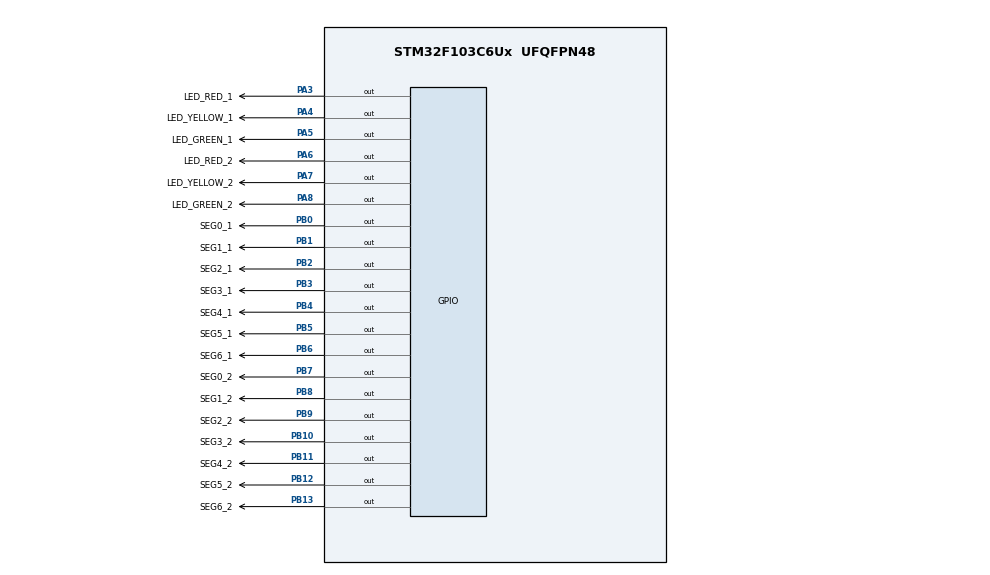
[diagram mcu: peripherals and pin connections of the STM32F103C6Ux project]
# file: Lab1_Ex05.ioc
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Mcu.Family=STM32F1
Mcu.Name=STM32F103C6Ux
Mcu.Package=UFQFPN48
NVIC.PriorityGroup=NVIC_PRIORITYGROUP_4
PA3.GPIO_Label=LED_RED_1
PA3.Signal=GPIO_Output
PA4.GPIO_Label=LED_YELLOW_1
PA4.Signal=GPIO_Output
PA5.GPIO_Label=LED_GREEN_1
PA5.Signal=GPIO_Output
PA6.GPIO_Label=LED_RED_2
PA6.Signal=GPIO_Output
PA7.GPIO_Label=LED_YELLOW_2
PA7.Signal=GPIO_Output
PA8.GPIO_Label=LED_GREEN_2
PA8.Signal=GPIO_Output
PB0.GPIO_Label=SEG0_1
PB0.Signal=GPIO_Output
PB1.GPIO_Label=SEG1_1
PB1.Signal=GPIO_Output
PB10.GPIO_Label=SEG3_2
PB10.Signal=GPIO_Output
PB11.GPIO_Label=SEG4_2
PB11.Signal=GPIO_Output
PB12.GPIO_Label=SEG5_2
PB12.Signal=GPIO_Output
PB13.GPIO_Label=SEG6_2
PB13.Signal=GPIO_Output
PB2.GPIO_Label=SEG2_1
PB2.Signal=GPIO_Output
PB3.GPIO_Label=SEG3_1
PB3.Signal=GPIO_Output
PB4.GPIO_Label=SEG4_1
PB4.Signal=GPIO_Output
PB5.GPIO_Label=SEG5_1
PB5.Signal=GPIO_Output
PB6.GPIO_Label=SEG6_1
PB6.Signal=GPIO_Output
PB7.GPIO_Label=SEG0_2
PB7.Signal=GPIO_Output
PB8.GPIO_Label=SEG1_2
PB8.Signal=GPIO_Output
PB9.GPIO_Label=SEG2_2
PB9.Signal=GPIO_Output
ProjectManager.HeapSize=0x200
ProjectManager.StackSize=0x400
ProjectManager.TargetToolchain=STM32CubeIDE
RCC.APB1Freq_Value=8000000
RCC.APB2Freq_Value=8000000
VP_SYS_VS_ND.Mode=No_Debug
board=custom

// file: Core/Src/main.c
/* USER CODE BEGIN Header */
/**
  ******************************************************************************
  * @file           : main.c
  * @brief          : Main program body
  ******************************************************************************
  * @attention
  *
  * <h2><center>&copy; Copyright (c) 2022 STMicroelectronics.
  * All rights reserved.</center></h2>
  *
  * This software component is licensed by ST under BSD 3-Clause license,
  * the "License"; You may not use this file except in compliance with the
  * License. You may obtain a copy of the License at:
  *                        opensource.org/licenses/BSD-3-Clause
  *
  ******************************************************************************
  */
/* USER CODE END Header */
#include "main.h"

void SystemClock_Config(void);
static void MX_GPIO_Init(void);

/* USER CODE BEGIN 0 */
void display7SEG_1 (int num){
	if( num == 0){
		HAL_GPIO_WritePin(SEG0_1_GPIO_Port, SEG0_1_Pin, GPIO_PIN_RESET);
		HAL_GPIO_WritePin(SEG1_1_GPIO_Port, SEG1_1_Pin, GPIO_PIN_RESET);
		HAL_GPIO_WritePin(SEG2_1_GPIO_Port, SEG2_1_Pin, GPIO_PIN_RESET);
		HAL_GPIO_WritePin(SEG3_1_GPIO_Port, SEG3_1_Pin, GPIO_PIN_RESET);
		HAL_GPIO_WritePin(SEG4_1_GPIO_Port, SEG4_1_Pin, GPIO_PIN_RESET);
		HAL_GPIO_WritePin(SEG5_1_GPIO_Port, SEG5_1_Pin, GPIO_PIN_RESET);
		HAL_GPIO_WritePin(SEG6_1_GPIO_Port, SEG6_1_Pin, GPIO_PIN_SET);
	}

	if(num == 1){
		HAL_GPIO_WritePin(SEG0_1_GPIO_Port, SEG0_1_Pin, GPIO_PIN_SET);
		HAL_GPIO_WritePin(SEG1_1_GPIO_Port, SEG1_1_Pin, GPIO_PIN_RESET);
		HAL_GPIO_WritePin(SEG2_1_GPIO_Port, SEG2_1_Pin, GPIO_PIN_RESET);
		HAL_GPIO_WritePin(SEG3_1_GPIO_Port, SEG3_1_Pin, GPIO_PIN_SET );
		HAL_GPIO_WritePin(SEG4_1_GPIO_Port, SEG4_1_Pin, GPIO_PIN_SET);
		HAL_GPIO_WritePin(SEG5_1_GPIO_Port, SEG5_1_Pin, GPIO_PIN_SET);
		HAL_GPIO_WritePin(SEG6_1_GPIO_Port, SEG6_1_Pin, GPIO_PIN_SET);
	}

	if(num == 2){
		HAL_GPIO_WritePin(SEG0_1_GPIO_Port, SEG0_1_Pin, GPIO_PIN_RESET);
		HAL_GPIO_WritePin(SEG1_1_GPIO_Port, SEG1_1_Pin, GPIO_PIN_RESET);
		HAL_GPIO_WritePin(SEG2_1_GPIO_Port, SEG2_1_Pin, GPIO_PIN_SET);
		HAL_GPIO_WritePin(SEG3_1_GPIO_Port, SEG3_1_Pin, GPIO_PIN_RESET);
		HAL_GPIO_WritePin(SEG4_1_GPIO_Port, SEG4_1_Pin, GPIO_PIN_RESET);
		HAL_GPIO_WritePin(SEG5_1_GPIO_Port, SEG5_1_Pin, GPIO_PIN_SET);
		HAL_GPIO_WritePin(SEG6_1_GPIO_Port, SEG6_1_Pin, GPIO_PIN_RESET);
	}

	if(num == 3){
		HAL_GPIO_WritePin(SEG0_1_GPIO_Port, SEG0_1_Pin, GPIO_PIN_RESET);
		HAL_GPIO_WritePin(SEG1_1_GPIO_Port, SEG1_1_Pin, GPIO_PIN_RESET);
		HAL_GPIO_WritePin(SEG2_1_GPIO_Port, SEG2_1_Pin, GPIO_PIN_RESET);
		HAL_GPIO_WritePin(SEG3_1_GPIO_Port, SEG3_1_Pin, GPIO_PIN_RESET);
		HAL_GPIO_WritePin(SEG4_1_GPIO_Port, SEG4_1_Pin, GPIO_PIN_SET);
		HAL_GPIO_WritePin(SEG5_1_GPIO_Port, SEG5_1_Pin, GPIO_PIN_SET);
		HAL_GPIO_WritePin(SEG6_1_GPIO_Port, SEG6_1_Pin, GPIO_PIN_RESET);
	}

	if(num == 4){
		HAL_GPIO_WritePin(SEG0_1_GPIO_Port, SEG0_1_Pin, GPIO_PIN_SET);
		HAL_GPIO_WritePin(SEG1_1_GPIO_Port, SEG1_1_Pin, GPIO_PIN_RESET);
		HAL_GPIO_WritePin(SEG2_1_GPIO_Port, SEG2_1_Pin, GPIO_PIN_RESET);
		HAL_GPIO_WritePin(SEG3_1_GPIO_Port, SEG3_1_Pin, GPIO_PIN_SET);
		HAL_GPIO_WritePin(SEG4_1_GPIO_Port, SEG4_1_Pin, GPIO_PIN_SET);
		HAL_GPIO_WritePin(SEG5_1_GPIO_Port, SEG5_1_Pin, GPIO_PIN_RESET);
		HAL_GPIO_WritePin(SEG6_1_GPIO_Port, SEG6_1_Pin, GPIO_PIN_RESET);
	}

	if(num == 5){
		HAL_GPIO_WritePin(SEG0_1_GPIO_Port, SEG0_1_Pin, GPIO_PIN_RESET);
		HAL_GPIO_WritePin(SEG1_1_GPIO_Port, SEG1_1_Pin, GPIO_PIN_SET);
		HAL_GPIO_WritePin(SEG2_1_GPIO_Port, SEG2_1_Pin, GPIO_PIN_RESET);
		HAL_GPIO_WritePin(SEG3_1_GPIO_Port, SEG3_1_Pin, GPIO_PIN_RESET);
		HAL_GPIO_WritePin(SEG4_1_GPIO_Port, SEG4_1_Pin, GPIO_PIN_SET);
		HAL_GPIO_WritePin(SEG5_1_GPIO_Port, SEG5_1_Pin, GPIO_PIN_RESET);
		HAL_GPIO_WritePin(SEG6_1_GPIO_Port, SEG6_1_Pin, GPIO_PIN_RESET);
	}

	if(num == 6){
		HAL_GPIO_WritePin(SEG0_1_GPIO_Port, SEG0_1_Pin, GPIO_PIN_RESET);
		HAL_GPIO_WritePin(SEG1_1_GPIO_Port, SEG1_1_Pin, GPIO_PIN_SET);
		HAL_GPIO_WritePin(SEG2_1_GPIO_Port, SEG2_1_Pin, GPIO_PIN_RESET);
		HAL_GPIO_WritePin(SEG3_1_GPIO_Port, SEG3_1_Pin, GPIO_PIN_RESET);
		HAL_GPIO_WritePin(SEG4_1_GPIO_Port, SEG4_1_Pin, GPIO_PIN_RESET);
		HAL_GPIO_WritePin(SEG5_1_GPIO_Port, SEG5_1_Pin, GPIO_PIN_RESET);
		HAL_GPIO_WritePin(SEG6_1_GPIO_Port, SEG6_1_Pin, GPIO_PIN_RESET);
	}

	if(num == 7){
		HAL_GPIO_WritePin(SEG0_1_GPIO_Port, SEG0_1_Pin, GPIO_PIN_RESET);
		HAL_GPIO_WritePin(SEG1_1_GPIO_Port, SEG1_1_Pin, GPIO_PIN_RESET);
		HAL_GPIO_WritePin(SEG2_1_GPIO_Port, SEG2_1_Pin, GPIO_PIN_RESET);
		HAL_GPIO_WritePin(SEG3_1_GPIO_Port, SEG3_1_Pin, GPIO_PIN_SET);
		HAL_GPIO_WritePin(SEG4_1_GPIO_Port, SEG4_1_Pin, GPIO_PIN_SET);
		HAL_GPIO_WritePin(SEG5_1_GPIO_Port, SEG5_1_Pin, GPIO_PIN_SET);
		HAL_GPIO_WritePin(SEG6_1_GPIO_Port, SEG6_1_Pin, GPIO_PIN_SET);
	}

	if(num == 8){
		HAL_GPIO_WritePin(SEG0_1_GPIO_Port, SEG0_1_Pin, GPIO_PIN_RESET);
		HAL_GPIO_WritePin(SEG1_1_GPIO_Port, SEG1_1_Pin, GPIO_PIN_RESET);
		HAL_GPIO_WritePin(SEG2_1_GPIO_Port, SEG2_1_Pin, GPIO_PIN_RESET);
		HAL_GPIO_WritePin(SEG3_1_GPIO_Port, SEG3_1_Pin, GPIO_PIN_RESET);
		HAL_GPIO_WritePin(SEG4_1_GPIO_Port, SEG4_1_Pin, GPIO_PIN_RESET);
		HAL_GPIO_WritePin(SEG5_1_GPIO_Port, SEG5_1_Pin, GPIO_PIN_RESET);
		HAL_GPIO_WritePin(SEG6_1_GPIO_Port, SEG6_1_Pin, GPIO_PIN_RESET);
	}

	if(num == 9){
		HAL_GPIO_WritePin(SEG0_1_GPIO_Port, SEG0_1_Pin, GPIO_PIN_RESET);
		HAL_GPIO_WritePin(SEG1_1_GPIO_Port, SEG1_1_Pin, GPIO_PIN_RESET);
		HAL_GPIO_WritePin(SEG2_1_GPIO_Port, SEG2_1_Pin, GPIO_PIN_RESET);
		HAL_GPIO_WritePin(SEG3_1_GPIO_Port, SEG3_1_Pin, GPIO_PIN_RESET);
		HAL_GPIO_WritePin(SEG4_1_GPIO_Port, SEG4_1_Pin, GPIO_PIN_SET);
		HAL_GPIO_WritePin(SEG5_1_GPIO_Port, SEG5_1_Pin, GPIO_PIN_RESET);
		HAL_GPIO_WritePin(SEG6_1_GPIO_Port, SEG6_1_Pin, GPIO_PIN_RESET);
	}
}

void display7SEG_2 (int num){
	if( num == 0){
		HAL_GPIO_WritePin(SEG0_2_GPIO_Port, SEG0_2_Pin, GPIO_PIN_RESET);
		HAL_GPIO_WritePin(SEG1_2_GPIO_Port, SEG1_2_Pin, GPIO_PIN_RESET);
		HAL_GPIO_WritePin(SEG2_2_GPIO_Port, SEG2_2_Pin, GPIO_PIN_RESET);
		HAL_GPIO_WritePin(SEG3_2_GPIO_Port, SEG3_2_Pin, GPIO_PIN_RESET);
		HAL_GPIO_WritePin(SEG4_2_GPIO_Port, SEG4_2_Pin, GPIO_PIN_RESET);
		HAL_GPIO_WritePin(SEG5_2_GPIO_Port, SEG5_2_Pin, GPIO_PIN_RESET);
		HAL_GPIO_WritePin(SEG6_2_GPIO_Port, SEG6_2_Pin, GPIO_PIN_SET);
	}

	if(num == 1){
		HAL_GPIO_WritePin(SEG0_2_GPIO_Port, SEG0_2_Pin, GPIO_PIN_SET);
		HAL_GPIO_WritePin(SEG1_2_GPIO_Port, SEG1_2_Pin, GPIO_PIN_RESET);
		HAL_GPIO_WritePin(SEG2_2_GPIO_Port, SEG2_2_Pin, GPIO_PIN_RESET);
		HAL_GPIO_WritePin(SEG3_2_GPIO_Port, SEG3_2_Pin, GPIO_PIN_SET );
		HAL_GPIO_WritePin(SEG4_2_GPIO_Port, SEG4_2_Pin, GPIO_PIN_SET);
		HAL_GPIO_WritePin(SEG5_2_GPIO_Port, SEG5_2_Pin, GPIO_PIN_SET);
		HAL_GPIO_WritePin(SEG6_2_GPIO_Port, SEG6_2_Pin, GPIO_PIN_SET);
	}

	if(num == 2){
		HAL_GPIO_WritePin(SEG0_2_GPIO_Port, SEG0_2_Pin, GPIO_PIN_RESET);
		HAL_GPIO_WritePin(SEG1_2_GPIO_Port, SEG1_2_Pin, GPIO_PIN_RESET);
		HAL_GPIO_WritePin(SEG2_2_GPIO_Port, SEG2_2_Pin, GPIO_PIN_SET);
		HAL_GPIO_WritePin(SEG3_2_GPIO_Port, SEG3_2_Pin, GPIO_PIN_RESET);
		HAL_GPIO_WritePin(SEG4_2_GPIO_Port, SEG4_2_Pin, GPIO_PIN_RESET);
		HAL_GPIO_WritePin(SEG5_2_GPIO_Port, SEG5_2_Pin, GPIO_PIN_SET);
		HAL_GPIO_WritePin(SEG6_2_GPIO_Port, SEG6_2_Pin, GPIO_PIN_RESET);
	}

	if(num == 3){
		HAL_GPIO_WritePin(SEG0_2_GPIO_Port, SEG0_2_Pin, GPIO_PIN_RESET);
		HAL_GPIO_WritePin(SEG1_2_GPIO_Port, SEG1_2_Pin, GPIO_PIN_RESET);
		HAL_GPIO_WritePin(SEG2_2_GPIO_Port, SEG2_2_Pin, GPIO_PIN_RESET);
		HAL_GPIO_WritePin(SEG3_2_GPIO_Port, SEG3_2_Pin, GPIO_PIN_RESET);
		HAL_GPIO_WritePin(SEG4_2_GPIO_Port, SEG4_2_Pin, GPIO_PIN_SET);
		HAL_GPIO_WritePin(SEG5_2_GPIO_Port, SEG5_2_Pin, GPIO_PIN_SET);
		HAL_GPIO_WritePin(SEG6_2_GPIO_Port, SEG6_2_Pin, GPIO_PIN_RESET);
	}

	if(num == 4){
		HAL_GPIO_WritePin(SEG0_2_GPIO_Port, SEG0_2_Pin, GPIO_PIN_SET);
		HAL_GPIO_WritePin(SEG1_2_GPIO_Port, SEG1_2_Pin, GPIO_PIN_RESET);
		HAL_GPIO_WritePin(SEG2_2_GPIO_Port, SEG2_2_Pin, GPIO_PIN_RESET);
		HAL_GPIO_WritePin(SEG3_2_GPIO_Port, SEG3_2_Pin, GPIO_PIN_SET);
		HAL_GPIO_WritePin(SEG4_2_GPIO_Port, SEG4_2_Pin, GPIO_PIN_SET);
		HAL_GPIO_WritePin(SEG5_2_GPIO_Port, SEG5_2_Pin, GPIO_PIN_RESET);
		HAL_GPIO_WritePin(SEG6_2_GPIO_Port, SEG6_2_Pin, GPIO_PIN_RESET);
	}

	if(num == 5){
		HAL_GPIO_WritePin(SEG0_2_GPIO_Port, SEG0_2_Pin, GPIO_PIN_RESET);
		HAL_GPIO_WritePin(SEG1_2_GPIO_Port, SEG1_2_Pin, GPIO_PIN_SET);
		HAL_GPIO_WritePin(SEG2_2_GPIO_Port, SEG2_2_Pin, GPIO_PIN_RESET);
		HAL_GPIO_WritePin(SEG3_2_GPIO_Port, SEG3_2_Pin, GPIO_PIN_RESET);
		HAL_GPIO_WritePin(SEG4_2_GPIO_Port, SEG4_2_Pin, GPIO_PIN_SET);
		HAL_GPIO_WritePin(SEG5_2_GPIO_Port, SEG5_2_Pin, GPIO_PIN_RESET);
		HAL_GPIO_WritePin(SEG6_2_GPIO_Port, SEG6_2_Pin, GPIO_PIN_RESET);
	}

	if(num == 6){
		HAL_GPIO_WritePin(SEG0_2_GPIO_Port, SEG0_2_Pin, GPIO_PIN_RESET);
		HAL_GPIO_WritePin(SEG1_2_GPIO_Port, SEG1_2_Pin, GPIO_PIN_SET);
		HAL_GPIO_WritePin(SEG2_2_GPIO_Port, SEG2_2_Pin, GPIO_PIN_RESET);
		HAL_GPIO_WritePin(SEG3_2_GPIO_Port, SEG3_2_Pin, GPIO_PIN_RESET);
		HAL_GPIO_WritePin(SEG4_2_GPIO_Port, SEG4_2_Pin, GPIO_PIN_RESET);
		HAL_GPIO_WritePin(SEG5_2_GPIO_Port, SEG5_2_Pin, GPIO_PIN_RESET);
		HAL_GPIO_WritePin(SEG6_2_GPIO_Port, SEG6_2_Pin, GPIO_PIN_RESET);
	}

	if(num == 7){
		HAL_GPIO_WritePin(SEG0_2_GPIO_Port, SEG0_2_Pin, GPIO_PIN_RESET);
		HAL_GPIO_WritePin(SEG1_2_GPIO_Port, SEG1_2_Pin, GPIO_PIN_RESET);
		HAL_GPIO_WritePin(SEG2_2_GPIO_Port, SEG2_2_Pin, GPIO_PIN_RESET);
		HAL_GPIO_WritePin(SEG3_2_GPIO_Port, SEG3_2_Pin, GPIO_PIN_SET);
		HAL_GPIO_WritePin(SEG4_2_GPIO_Port, SEG4_2_Pin, GPIO_PIN_SET);
		HAL_GPIO_WritePin(SEG5_2_GPIO_Port, SEG5_2_Pin, GPIO_PIN_SET);
		HAL_GPIO_WritePin(SEG6_2_GPIO_Port, SEG6_2_Pin, GPIO_PIN_SET);
	}

	if(num == 8){
		HAL_GPIO_WritePin(SEG0_2_GPIO_Port, SEG0_2_Pin, GPIO_PIN_RESET);
		HAL_GPIO_WritePin(SEG1_2_GPIO_Port, SEG1_2_Pin, GPIO_PIN_RESET);
		HAL_GPIO_WritePin(SEG2_2_GPIO_Port, SEG2_2_Pin, GPIO_PIN_RESET);
		HAL_GPIO_WritePin(SEG3_2_GPIO_Port, SEG3_2_Pin, GPIO_PIN_RESET);
		HAL_GPIO_WritePin(SEG4_2_GPIO_Port, SEG4_2_Pin, GPIO_PIN_RESET);
		HAL_GPIO_WritePin(SEG5_2_GPIO_Port, SEG5_2_Pin, GPIO_PIN_RESET);
		HAL_GPIO_WritePin(SEG6_2_GPIO_Port, SEG6_2_Pin, GPIO_PIN_RESET);
	}

	if(num == 9){
		HAL_GPIO_WritePin(SEG0_2_GPIO_Port, SEG0_2_Pin, GPIO_PIN_RESET);
		HAL_GPIO_WritePin(SEG1_2_GPIO_Port, SEG1_2_Pin, GPIO_PIN_RESET);
		HAL_GPIO_WritePin(SEG2_2_GPIO_Port, SEG2_2_Pin, GPIO_PIN_RESET);
		HAL_GPIO_WritePin(SEG3_2_GPIO_Port, SEG3_2_Pin, GPIO_PIN_RESET);
		HAL_GPIO_WritePin(SEG4_2_GPIO_Port, SEG4_2_Pin, GPIO_PIN_SET);
		HAL_GPIO_WritePin(SEG5_2_GPIO_Port, SEG5_2_Pin, GPIO_PIN_RESET);
		HAL_GPIO_WritePin(SEG6_2_GPIO_Port, SEG6_2_Pin, GPIO_PIN_RESET);
	}
}
/* USER CODE END 0 */

int main(void)
{

  /* MCU Configuration--------------------------------------------------------*/

  /* Reset of all peripherals, Initializes the Flash interface and the Systick. */
  HAL_Init();

  /* Configure the system clock */
  SystemClock_Config();

  /* Initialize all configured peripherals */
  MX_GPIO_Init();

  /* Infinite loop */
  /* USER CODE BEGIN WHILE */
  int red1 = 5;
  int yellow1 = 0;
  int green1 = 0;
  int red2 = 0;
  int yellow2 = 0;
  int green2 = 3;

  HAL_GPIO_WritePin(LED_RED_1_GPIO_Port, LED_RED_1_Pin, GPIO_PIN_SET);
  HAL_GPIO_WritePin(LED_YELLOW_1_GPIO_Port, LED_YELLOW_1_Pin, GPIO_PIN_SET);
  HAL_GPIO_WritePin(LED_GREEN_1_GPIO_Port, LED_GREEN_1_Pin, GPIO_PIN_SET);
  HAL_GPIO_WritePin(LED_RED_2_GPIO_Port, LED_RED_2_Pin, GPIO_PIN_SET);
  HAL_GPIO_WritePin(LED_YELLOW_2_GPIO_Port, LED_YELLOW_2_Pin, GPIO_PIN_SET);
  HAL_GPIO_WritePin(LED_GREEN_2_GPIO_Port, LED_GREEN_2_Pin, GPIO_PIN_SET);
  while (1)
  {
    /* USER CODE END WHILE */

    /* USER CODE BEGIN 3 */
	  if(red1 > 0){
		  HAL_GPIO_WritePin(LED_RED_1_GPIO_Port, LED_RED_1_Pin, GPIO_PIN_RESET);
		  HAL_GPIO_WritePin(LED_YELLOW_1_GPIO_Port, LED_YELLOW_1_Pin, GPIO_PIN_SET);
		  HAL_GPIO_WritePin(LED_GREEN_1_GPIO_Port, LED_GREEN_1_Pin, GPIO_PIN_SET);
		  HAL_GPIO_WritePin(LED_RED_2_GPIO_Port, LED_RED_2_Pin, GPIO_PIN_SET);
		  display7SEG_1(red1);
		  red1--;

		  if(green2 == 0 && yellow2 == 0){
			  yellow2 = 2;
			  HAL_GPIO_WritePin(LED_GREEN_2_GPIO_Port, LED_GREEN_2_Pin, GPIO_PIN_SET);
		  }
		  if(yellow2 > 0){
			  HAL_GPIO_WritePin(LED_YELLOW_2_GPIO_Port, LED_YELLOW_2_Pin, GPIO_PIN_RESET);
			  display7SEG_2(yellow2);
			  yellow2--;
		  }
		  if(green2 > 0){
			  HAL_GPIO_WritePin(LED_GREEN_2_GPIO_Port, LED_GREEN_2_Pin, GPIO_PIN_RESET);
			  display7SEG_2(green2);
			  green2--;
		  }
		  if(red1 == 0){
			  green1 =3;
			  red2 =5;
		  }
	  }

	  else if(red2 > 0){
		  HAL_GPIO_WritePin(LED_RED_2_GPIO_Port, LED_RED_2_Pin, GPIO_PIN_RESET);
		  HAL_GPIO_WritePin(LED_GREEN_2_GPIO_Port, LED_GREEN_2_Pin, GPIO_PIN_SET);
		  HAL_GPIO_WritePin(LED_YELLOW_2_GPIO_Port, LED_YELLOW_2_Pin, GPIO_PIN_SET);
		  HAL_GPIO_WritePin(LED_RED_1_GPIO_Port, LED_RED_1_Pin, GPIO_PIN_SET);
		  display7SEG_2(red2);
		  red2--;

	  	  if(green1 == 0 && yellow1 == 0){
	  		  yellow1 = 2;
	  		  HAL_GPIO_WritePin(LED_GREEN_1_GPIO_Port, LED_GREEN_1_Pin, GPIO_PIN_SET);
	  	  }

	  	  if(yellow1 > 0){
	  		  HAL_GPIO_WritePin(LED_YELLOW_1_GPIO_Port, LED_YELLOW_1_Pin, GPIO_PIN_RESET);
	  		  display7SEG_1(yellow1);
	  		  yellow1--;
	  	  }
	  	  if(green1 > 0){
	  		  HAL_GPIO_WritePin(LED_GREEN_1_GPIO_Port, LED_GREEN_1_Pin, GPIO_PIN_RESET);
	  		  display7SEG_1(green1);
	  		  green1 --;
	  	  }
	  	  if(red2 == 0){
	  		  green2 = 3;
	  		  red1 = 5;
	  	  }
	  }
	  HAL_Delay (1000) ;
  }
  /* USER CODE END 3 */
}

void SystemClock_Config(void)
{
  RCC_OscInitTypeDef RCC_OscInitStruct = {0};
  RCC_ClkInitTypeDef RCC_ClkInitStruct = {0};

  /** Initializes the RCC Oscillators according to the specified parameters
  * in the RCC_OscInitTypeDef structure.
  */
  RCC_OscInitStruct.OscillatorType = RCC_OSCILLATORTYPE_HSI;
  RCC_OscInitStruct.HSIState = RCC_HSI_ON;
  RCC_OscInitStruct.HSICalibrationValue = RCC_HSICALIBRATION_DEFAULT;
  RCC_OscInitStruct.PLL.PLLState = RCC_PLL_NONE;
  if (HAL_RCC_OscConfig(&RCC_OscInitStruct) != HAL_OK)
  {
    Error_Handler();
  }
  /** Initializes the CPU, AHB and APB buses clocks
  */
  RCC_ClkInitStruct.ClockType = RCC_CLOCKTYPE_HCLK|RCC_CLOCKTYPE_SYSCLK
                              |RCC_CLOCKTYPE_PCLK1|RCC_CLOCKTYPE_PCLK2;
  RCC_ClkInitStruct.SYSCLKSource = RCC_SYSCLKSOURCE_HSI;
  RCC_ClkInitStruct.AHBCLKDivider = RCC_SYSCLK_DIV1;
  RCC_ClkInitStruct.APB1CLKDivider = RCC_HCLK_DIV1;
  RCC_ClkInitStruct.APB2CLKDivider = RCC_HCLK_DIV1;

  if (HAL_RCC_ClockConfig(&RCC_ClkInitStruct, FLASH_LATENCY_0) != HAL_OK)
  {
    Error_Handler();
  }
}

static void MX_GPIO_Init(void)
{
  GPIO_InitTypeDef GPIO_InitStruct = {0};

  /* GPIO Ports Clock Enable */
  __HAL_RCC_GPIOA_CLK_ENABLE();
  __HAL_RCC_GPIOB_CLK_ENABLE();

  /*Configure GPIO pin Output Level */
  HAL_GPIO_WritePin(GPIOA, LED_RED_1_Pin|LED_YELLOW_1_Pin|LED_GREEN_1_Pin|LED_RED_2_Pin
                          |LED_YELLOW_2_Pin|LED_GREEN_2_Pin, GPIO_PIN_RESET);

  /*Configure GPIO pin Output Level */
  HAL_GPIO_WritePin(GPIOB, SEG0_1_Pin|SEG1_1_Pin|SEG2_1_Pin|SEG3_2_Pin
                          |SEG4_2_Pin|SEG5_2_Pin|SEG6_2_Pin|SEG3_1_Pin
                          |SEG4_1_Pin|SEG5_1_Pin|SEG6_1_Pin|SEG0_2_Pin
                          |SEG1_2_Pin|SEG2_2_Pin, GPIO_PIN_RESET);

  /*Configure GPIO pins : LED_RED_1_Pin LED_YELLOW_1_Pin LED_GREEN_1_Pin LED_RED_2_Pin
                           LED_YELLOW_2_Pin LED_GREEN_2_Pin */
  GPIO_InitStruct.Pin = LED_RED_1_Pin|LED_YELLOW_1_Pin|LED_GREEN_1_Pin|LED_RED_2_Pin
                          |LED_YELLOW_2_Pin|LED_GREEN_2_Pin;
  GPIO_InitStruct.Mode = GPIO_MODE_OUTPUT_PP;
  GPIO_InitStruct.Pull = GPIO_NOPULL;
  GPIO_InitStruct.Speed = GPIO_SPEED_FREQ_LOW;
  HAL_GPIO_Init(GPIOA, &GPIO_InitStruct);

  /*Configure GPIO pins : SEG0_1_Pin SEG1_1_Pin SEG2_1_Pin SEG3_2_Pin
                           SEG4_2_Pin SEG5_2_Pin SEG6_2_Pin SEG3_1_Pin
                           SEG4_1_Pin SEG5_1_Pin SEG6_1_Pin SEG0_2_Pin
                           SEG1_2_Pin SEG2_2_Pin */
  GPIO_InitStruct.Pin = SEG0_1_Pin|SEG1_1_Pin|SEG2_1_Pin|SEG3_2_Pin
                          |SEG4_2_Pin|SEG5_2_Pin|SEG6_2_Pin|SEG3_1_Pin
                          |SEG4_1_Pin|SEG5_1_Pin|SEG6_1_Pin|SEG0_2_Pin
                          |SEG1_2_Pin|SEG2_2_Pin;
  GPIO_InitStruct.Mode = GPIO_MODE_OUTPUT_PP;
  GPIO_InitStruct.Pull = GPIO_NOPULL;
  GPIO_InitStruct.Speed = GPIO_SPEED_FREQ_LOW;
  HAL_GPIO_Init(GPIOB, &GPIO_InitStruct);

}

void Error_Handler(void)
{
  __disable_irq();
  while (1)
  {
  }
}

/************************ (C) COPYRIGHT STMicroelectronics *****END OF FILE****/
